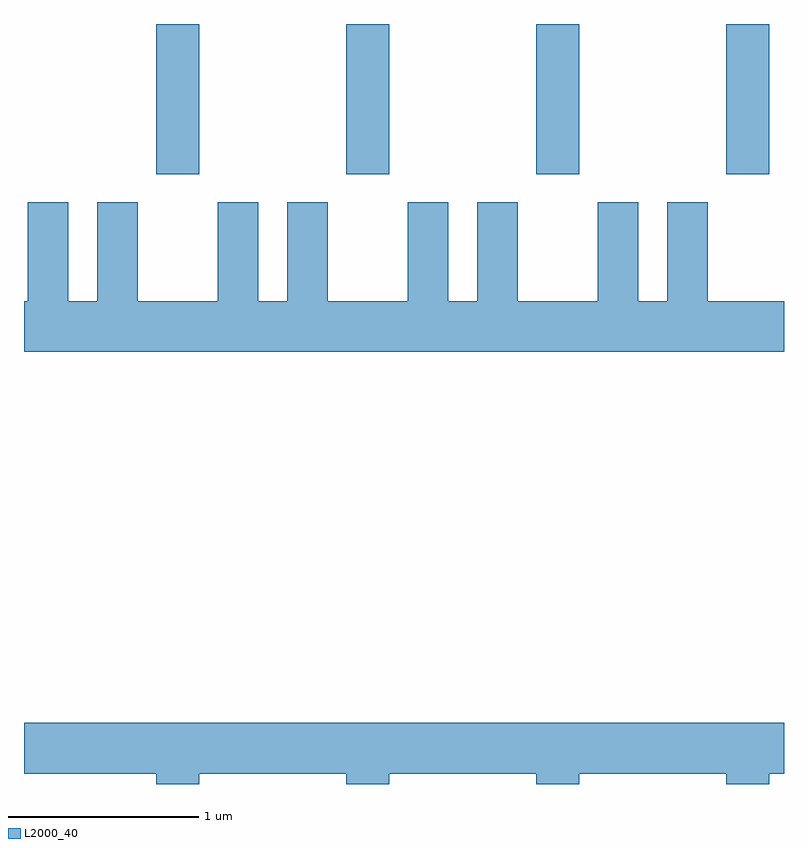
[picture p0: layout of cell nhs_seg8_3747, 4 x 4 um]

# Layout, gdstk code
import gdstk
lib = gdstk.Library(unit=1e-6, precision=1e-09)
def R(c, l, rs):  # rectangles x0, y0, x1, y1
    for r in rs: c.add(gdstk.rectangle(r[:2], r[2:], *l))
def A(c, l, x, y, w, h, nx, ny, dx, dy):  # array of equal rectangles
    R(c, l, [(x+i*dx, y+j*dy, x+i*dx+w, y+j*dy+h) for i in range(nx) for j in range(ny)])
def P(c, l, *ps):  # polygons
    for p in ps: c.add(gdstk.Polygon(p, *l))
L2000_40 = (2000, 40)

nhs_seg8_3747 = lib.new_cell('nhs_seg8_3747')
A(nhs_seg8_3747, L2000_40, 298.306, 1859.551, 0.228, 0.791, 4, 1, 1, 0)
P(nhs_seg8_3747, L2000_40, [(301.611,1858.884),(301.209,1858.884),(301.209,1859.404),(300.996,1859.404),(300.996,1858.884),(300.844,1858.884),(300.844,1859.404),(300.631,1859.404),(300.631,1858.884),(300.209,1858.884),(300.209,1859.404),(299.996,1859.404),(299.996,1858.884),(299.844,1858.884),(299.844,1859.404),(299.631,1859.404),(299.631,1858.884),(299.209,1858.884),(299.209,1859.404),(298.996,1859.404),(298.996,1858.884),(298.844,1858.884),(298.844,1859.404),(298.631,1859.404),(298.631,1858.884),(298.209,1858.884),(298.209,1859.404),(297.996,1859.404),(297.996,1858.884),(297.844,1858.884),(297.844,1859.404),(297.631,1859.404),(297.631,1858.884),(297.611,1858.884),(297.611,1858.616),(301.611,1858.616)],
  [(298.534,1856.396),(299.306,1856.396),(299.306,1856.342),(299.534,1856.342),(299.534,1856.396),(300.306,1856.396),(300.306,1856.342),(300.534,1856.342),(300.534,1856.396),(301.306,1856.396),(301.306,1856.342),(301.534,1856.342),(301.534,1856.396),(301.611,1856.396),(301.611,1856.664),(297.611,1856.664),(297.611,1856.396),(298.306,1856.396),(298.306,1856.342),(298.534,1856.342)])

lib.write_gds('nhs_seg8_3747.gds')
